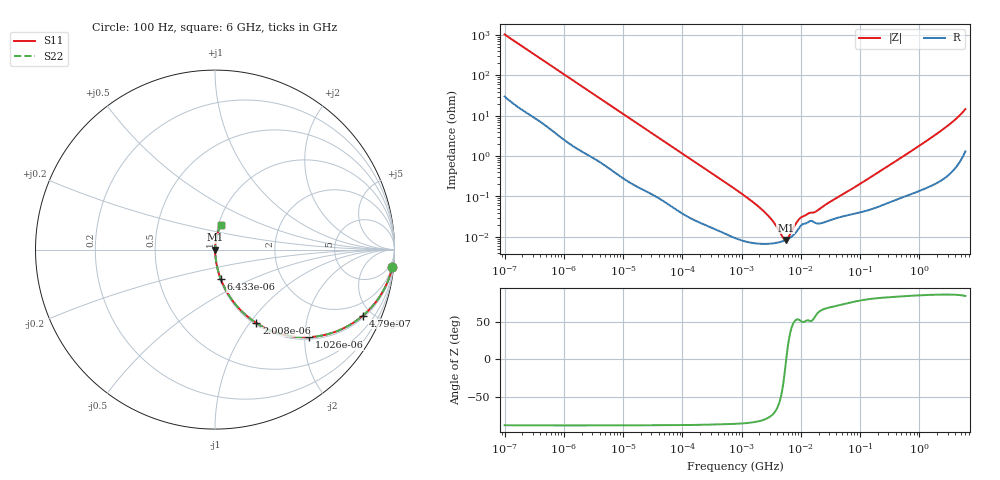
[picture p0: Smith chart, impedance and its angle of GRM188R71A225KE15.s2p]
!Murata Part Number: GRM188R71A225KE15
!These Parameters are Measured in Series Mode Connection
!Data Generated on Mar 30, 2021
!  o--ll--o
!Port1  Port2
!  o------o
!Operation Temp=25[degC], DC Bias Voltage=0[V]
!Freq. Start=100[Hz] Stop=6[GHz] 401[Steps]
# Hz S RI R 50
!Freq.(Hz) S11(Real) S11(Imag) S21(Real) S21(Imag) S12(Real) S12(Imag) S22(Real) S22(Imag)
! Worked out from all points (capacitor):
!   401 points, 100 Hz to 6 GHz, reference 50 ohm
!   read as one part in series: C = 1.53 uF near 109 Hz
!   lowest |Z| = 8.35 mohm at 5.555 MHz (marker M1)
!   series resonance near 5.676 MHz, so ESL is about 510 pH
!   S11 on the Smith chart (normalised r, x): 100 Hz: 2, -21; 479 Hz: 1.12, -4.43; 1.026 kHz: 1.05, -2.09; 2.008 kHz: 1.03, -1.08; 6.433 kHz: 1.01, -0.34; 6 GHz: 1.03, +0.29
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100  0.9881 -0.095  0.0119 0.095  0.0119 0.095  0.9881 -0.095
245  0.9431 -0.2187  0.0569 0.2187  0.0569 0.2187  0.9431 -0.2187
479  0.8243 -0.3675  0.1757 0.3675  0.1757 0.3675  0.8243 -0.3675
1026  0.5226 -0.4878  0.4774 0.4878  0.4774 0.4878  0.5226 -0.4878
2008  0.2309 -0.4095  0.7691 0.4095  0.7691 0.4095  0.2309 -0.4095
3437  0.0979 -0.2844  0.9021 0.2844  0.9021 0.2844  0.0979 -0.2844
6433  0.0327 -0.1654  0.9673 0.1654  0.9673 0.1654  0.0327 -0.1654
14402  0.00797 -0.0768  0.992 0.0768  0.992 0.0768  0.00797 -0.0768
40335  0.00169 -0.0282  0.9983 0.0282  0.9983 0.0282  0.00169 -0.0282
774597  9.57e-05 -0.00153  0.9999 0.00153  0.9999 0.00153  9.57e-05 -0.00153
2372521  6.7e-05 -0.000425  0.9999 0.000425  0.9999 0.000425  6.7e-05 -0.000425
3394479  6.88e-05 -0.000232  0.9999 0.000232  0.9999 0.000232  6.88e-05 -0.000232
4856642  7.71e-05 -6.79e-05  0.9999 6.79e-05  0.9999 6.79e-05  7.71e-05 -6.79e-05
5554849  8.3e-05 -9.3e-06  0.9999 9.3e-06  0.9999 9.3e-06  8.3e-05 -9.3e-06
6353432  9.2e-05 4.98e-05  0.9999 -4.98e-05  0.9999 -4.98e-05  9.2e-05 4.98e-05
9506416  0.000171 0.000224  0.9998 -0.000224  0.9998 -0.000224  0.000171 0.000224
1.555665e7  0.000245 0.000313  0.9998 -0.000313  0.9998 -0.000313  0.000245 0.000313
1.86079e7  0.000215 0.000382  0.9998 -0.000382  0.9998 -0.000382  0.000215 0.000382
3.124326e8  0.000746 0.00591  0.9993 -0.00591  0.9993 -0.00591  0.000746 0.00591
2.240541e9  0.00404 0.0405  0.996 -0.0405  0.996 -0.0405  0.00404 0.0405
3.666503e9  0.00924 0.0703  0.9908 -0.0703  0.9908 -0.0703  0.00924 0.0703
6e9  0.0331 0.1394  0.9669 -0.1394  0.9669 -0.1394  0.0331 0.1394
